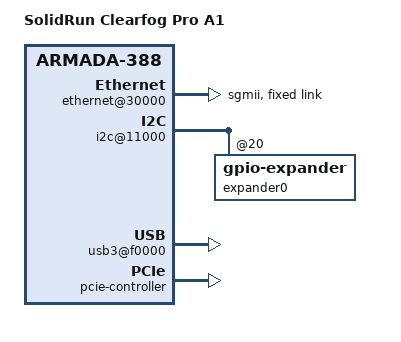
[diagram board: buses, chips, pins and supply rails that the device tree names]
/*
 * Device Tree file for SolidRun Clearfog revision A1 rev 2.0 (88F6828)
 *
 *  Copyright (C) 2015 Russell King
 *
 * This file is dual-licensed: you can use it either under the terms
 * of the GPL or the X11 license, at your option. Note that this dual
 * licensing only applies to this file, and not this project as a
 * whole.
 *
 *  a) This file is free software; you can redistribute it and/or
 *     modify it under the terms of the GNU General Public License
 *     version 2 as published by the Free Software Foundation.
 *
 *     This file is distributed in the hope that it will be useful
 *     but WITHOUT ANY WARRANTY; without even the implied warranty of
 *     MERCHANTABILITY or FITNESS FOR A PARTICULAR PURPOSE.  See the
 *     GNU General Public License for more details.
 *
 * Or, alternatively
 *
 *  b) Permission is hereby granted, free of charge, to any person
 *     obtaining a copy of this software and associated documentation
 *     files (the "Software"), to deal in the Software without
 *     restriction, including without limitation the rights to use
 *     copy, modify, merge, publish, distribute, sublicense, and/or
 *     sell copies of the Software, and to permit persons to whom the
 *     Software is furnished to do so, subject to the following
 *     conditions:
 *
 *     The above copyright notice and this permission notice shall be
 *     included in all copies or substantial portions of the Software.
 *
 *     THE SOFTWARE IS PROVIDED , WITHOUT WARRANTY OF ANY KIND
 *     EXPRESS OR IMPLIED, INCLUDING BUT NOT LIMITED TO THE WARRANTIES
 *     OF MERCHANTABILITY, FITNESS FOR A PARTICULAR PURPOSE AND
 *     NONINFRINGEMENT. IN NO EVENT SHALL THE AUTHORS OR COPYRIGHT
 *     HOLDERS BE LIABLE FOR ANY CLAIM, DAMAGES OR OTHER LIABILITY
 *     WHETHER IN AN ACTION OF CONTRACT, TORT OR OTHERWISE, ARISING
 *     FROM, OUT OF OR IN CONNECTION WITH THE SOFTWARE OR THE USE OR
 *     OTHER DEALINGS IN THE SOFTWARE.
 */

/dts-v1/;
#include "armada-388-clearfog.dtsi"

/ {
	model = "SolidRun Clearfog Pro A1";

	soc {
		internal-regs {
                        ethernet@30000 {
                                phy-mode = "sgmii";
                                status = "okay";

				fixed-link {
					speed = <1000>;
					full-duplex;
				};
                        };

			i2c@11000 {
				/*
				 * PCA9655 GPIO expander, up to 1MHz clock.
				 *  0-CON3 CLKREQ#
				 *  1-CON3 PERST#
				 *  2-CON2 PERST#
				 *  3-CON3 W_DISABLE
				 *  4-CON2 CLKREQ#
				 *  5-USB3 overcurrent
				 *  6-USB3 power
				 *  7-CON2 W_DISABLE
				 *  8-JP4 P1
				 *  9-JP4 P4
				 * 10-JP4 P5
				 * 11-m.2 DEVSLP
				 * 12-SFP_LOS
				 * 13-SFP_TX_FAULT
				 * 14-SFP_TX_DISABLE
				 * 15-SFP_MOD_DEF0
				 */
				expander0: gpio-expander@20 {
					pcie2_0_clkreq {
						gpio-hog;
						gpios = <4 GPIO_ACTIVE_LOW>;
						input;
						line-name = "pcie2.0-clkreq";
					};
					pcie2_0_w_disable {
						gpio-hog;
						gpios = <7 GPIO_ACTIVE_LOW>;
						output-low;
						line-name = "pcie2.0-w-disable";
					};
				};
			};

			pinctrl@18000 {
				clearfog_dsa0_clk_pins: clearfog-dsa0-clk-pins {
					marvell,pins = "mpp46";
					marvell,function = "ref";
				};
				clearfog_dsa0_pins: clearfog-dsa0-pins {
					marvell,pins = "mpp23", "mpp41";
					marvell,function = "gpio";
				};
				clearfog_spi1_cs_pins: spi1-cs-pins {
					marvell,pins = "mpp55";
					marvell,function = "spi1";
				};
			};

			spi@10680 {
				/*
				 * We don't seem to have the W25Q32 on the
				 * A1 Rev 2.0 boards, so disable SPI.
				 * CS0: W25Q32 (doesn't appear to be present)
				 * CS1:
				 * CS2: mikrobus
				 */
				pinctrl-0 = <&spi1_pins
					     &clearfog_spi1_cs_pins
					     &mikro_spi_pins>;
			};

			usb3@f0000 {
				/* CON2, nearest CPU, USB2 only. */
				status = "okay";
			};
		};

		pcie-controller {
			status = "okay";
			/*
			 * The Pro board has a second mini-PCIe on the board
			 */
			pcie@3,0 {
				/* Port 2, Lane 0. CON2, nearest CPU. */
				reset-gpios = <&expander0 2 GPIO_ACTIVE_LOW>;
				status = "okay";
			};
		};
	};

	dsa@0 {
		compatible = "marvell,dsa";
		dsa,ethernet = <&eth1>;
		dsa,mii-bus = <&mdio>;
		pinctrl-0 = <&clearfog_dsa0_clk_pins &clearfog_dsa0_pins>;
		pinctrl-names = "default";
		#address-cells = <2>;
		#size-cells = <0>;

		switch@0 {
			#address-cells = <1>;
			#size-cells = <0>;
			reg = <4 0>;

			port@0 {
				reg = <0>;
				label = "lan5";
			};

			port@1 {
				reg = <1>;
				label = "lan4";
			};

			port@2 {
				reg = <2>;
				label = "lan3";
			};

			port@3 {
				reg = <3>;
				label = "lan2";
			};

			port@4 {
				reg = <4>;
				label = "lan1";
			};

			port@5 {
				reg = <5>;
				label = "cpu";
			};

#if 0
			port@6 {
				/* 88E1512 external phy */
				reg = <6>;
				label = "lan6";
				fixed-link {
					speed = <1000>;
					full-duplex;
				};
				/* There is a design problem with this port.
				 * The additional phy is addressed as 1 on the
				 * mdio bus, which conflicts with lan4 of the
				 * main switch when the hardware is configured
				 * for dsa mode.  This can be enabled and used
				 * with the following caveats.  1)  The port
				 * can only be used at 1000Base-FD. 2) You can
				 * not use ethtool/mii-tool to change the default
				 * settings of port@1/lan4 as these changes will
				 * also be applied to the external phy and cause
				 * erradic behaviour.
				 */
			};
#endif
		};
	};
};
